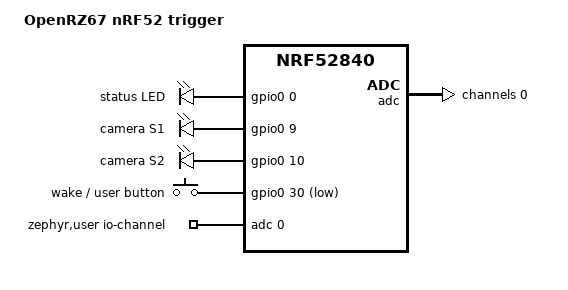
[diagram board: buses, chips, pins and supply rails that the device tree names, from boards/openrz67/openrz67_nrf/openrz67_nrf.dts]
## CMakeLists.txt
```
cmake_minimum_required(VERSION 3.20.0)
list(APPEND BOARD_ROOT ${CMAKE_CURRENT_SOURCE_DIR})
find_package(Zephyr REQUIRED HINTS $ENV{ZEPHYR_BASE})
project(openrz67_nrf)
target_sources(app PRIVATE src/main.c)
```

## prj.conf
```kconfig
# Bluetooth: peripheral only, one connection, 0 dBm
CONFIG_BT=y
CONFIG_BT_PERIPHERAL=y
CONFIG_BT_MAX_CONN=1
CONFIG_BT_DEVICE_NAME="OpenRZ67"
CONFIG_BT_DEVICE_APPEARANCE=0
CONFIG_BT_DIS=y
CONFIG_BT_DIS_MANUF_NAME=y
CONFIG_BT_DIS_MANUF_NAME_STR="OpenRZ67"
CONFIG_BT_DIS_MODEL_NUMBER=y
CONFIG_BT_DIS_MODEL_NUMBER_STR="Trigger"
CONFIG_BT_DIS_FW_REV=y
CONFIG_BT_DIS_FW_REV_STR="dev"
CONFIG_BT_DIS_PNP=n
CONFIG_BT_BAS=y
CONFIG_BT_GATT_DYNAMIC_DB=n
CONFIG_BT_CTLR_TX_PWR_0=y
# GAP preferred supervision timeout 4 s, as requested after connecting (default 420 ms)
CONFIG_BT_PERIPHERAL_PREF_TIMEOUT=400

# Firmware updates over Bluetooth: MCUboot + SMP (nRF Connect Device Manager app)
CONFIG_NCS_SAMPLE_MCUMGR_BT_OTA_DFU=y

# GPIO, ADC (VDD measurement), power off, watchdog
CONFIG_GPIO=y
CONFIG_ADC=y
CONFIG_POWEROFF=y
CONFIG_WATCHDOG=y

# Anomaly 30: HFINT drifts in the cold and GRTC wake-ups go wrong; recalibrate every 60 s
CONFIG_CLOCK_CONTROL_NRF_HFINT_CALIBRATION=y

# Nothing talks on a serial port: no UART, no console, no logging.
# debug.conf turns RTT logging on for a J-Link / debugprobe session.
CONFIG_SERIAL=n
CONFIG_CONSOLE=n
CONFIG_UART_CONSOLE=n
CONFIG_LOG=n
CONFIG_BOOT_BANNER=n
CONFIG_MAIN_STACK_SIZE=2048
```

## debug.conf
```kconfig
# west build -b openrz67_nrf/nrf54l15/cpuapp -- -DEXTRA_CONF_FILE=debug.conf
CONFIG_LOG=y
CONFIG_USE_SEGGER_RTT=y
CONFIG_LOG_BACKEND_RTT=y
CONFIG_LOG_MODE_DEFERRED=y
CONFIG_PRINTK=y
CONFIG_CONSOLE=y
CONFIG_RTT_CONSOLE=y
```

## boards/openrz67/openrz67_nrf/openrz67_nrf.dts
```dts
/dts-v1/;
#include <nordic/nrf52840_qiaa.dtsi>
#include <zephyr/dt-bindings/input/input-event-codes.h>
#include <zephyr/dt-bindings/adc/adc.h>
#include <zephyr/dt-bindings/adc/nrf-adc.h>
#include <zephyr/dt-bindings/gpio/nordic-nrf-gpio.h>

/ {
	model = "OpenRZ67 nRF52 trigger";
	compatible = "openrz67,openrz67-nrf";

	chosen {
		zephyr,sram = &sram0;
		zephyr,flash = &flash0;
		zephyr,code-partition = &slot0_partition;
	};

	/* E73-2G4M08S1C pads -> nRF52840 GPIO, see ../../../kicad/README.md */
	outputs {
		compatible = "gpio-leds";
		status_led: led_0 {
			gpios = <&gpio0 0 GPIO_ACTIVE_HIGH>;	/* D1 through R3, pad 11 (XL1) */
			label = "status LED";
		};
		s1_drv: s1 {
			gpios = <&gpio0 9 (GPIO_ACTIVE_HIGH | NRF_GPIO_DRIVE_S0H1)>;	/* U2 PhotoMOS LED through R1, pad 41 (NFC1); high drive, 5 mA */
			label = "camera S1";
		};
		s2_drv: s2 {
			gpios = <&gpio0 10 (GPIO_ACTIVE_HIGH | NRF_GPIO_DRIVE_S0H1)>;	/* U3 PhotoMOS LED through R2, pad 43 (NFC2); high drive, 5 mA */
			label = "camera S2";
		};
	};

	buttons {
		compatible = "gpio-keys";
		user_button: button_0 {
			gpios = <&gpio0 30 (GPIO_PULL_UP | GPIO_ACTIVE_LOW)>;	/* SW1 to GND, pad 10 */
			label = "wake / user button";
			zephyr,code = <INPUT_KEY_0>;
		};
	};

	zephyr,user {
		io-channels = <&adc 0>;	/* VDD, i.e. the cell voltage */
	};

	aliases {
		led0 = &status_led;
		sw0 = &user_button;
	};
};

&adc {
	status = "okay";
	#address-cells = <1>;
	#size-cells = <0>;
	channel@0 {
		reg = <0>;
		zephyr,gain = "ADC_GAIN_1_6";
		zephyr,reference = "ADC_REF_INTERNAL";
		zephyr,acquisition-time = <ADC_ACQ_TIME(ADC_ACQ_TIME_MICROSECONDS, 40)>;
		zephyr,input-positive = <NRF_SAADC_VDD>;
		zephyr,resolution = <12>;
		zephyr,oversampling = <4>;
	};
};

&gpio0 {
	status = "okay";
	sense-edge-mask = <(1 << 30)>;	/* button via SENSE, not a GPIOTE channel */
};

&gpio1 {
	status = "okay";
};

&gpiote {
	status = "okay";
};

/* P0.09 / P0.10 drive the PhotoMOS LEDs, not NFC */
&uicr {
	nfct-pins-as-gpios;
};

&flash0 {
	partitions {
		compatible = "fixed-partitions";
		#address-cells = <1>;
		#size-cells = <1>;
		boot_partition: partition@0 {
			label = "mcuboot";
			reg = <0x0 0xc000>;
		};
		slot0_partition: partition@c000 {
			label = "image-0";
			reg = <0xc000 0x72000>;
		};
		slot1_partition: partition@7e000 {
			label = "image-1";
			reg = <0x7e000 0x72000>;
		};
		storage_partition: partition@f0000 {
			label = "storage";
			reg = <0xf0000 0x10000>;
		};
	};
};
```

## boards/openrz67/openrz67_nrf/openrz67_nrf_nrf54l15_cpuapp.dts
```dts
/dts-v1/;
#include <nordic/nrf54l15_cpuapp.dtsi>
#include <zephyr/dt-bindings/input/input-event-codes.h>
#include <zephyr/dt-bindings/adc/adc.h>
#include <zephyr/dt-bindings/adc/nrf-saadc.h>
#include <zephyr/dt-bindings/gpio/nordic-nrf-gpio.h>

/ {
	model = "OpenRZ67 nRF trigger";
	compatible = "openrz67,openrz67-nrf";

	chosen {
		zephyr,sram = &cpuapp_sram;
		zephyr,flash = &cpuapp_rram;
		zephyr,flash-controller = &rram_controller;
		zephyr,code-partition = &slot0_partition;
	};

	/* E73-2G4M08S1F pads -> nRF54L15 GPIO, see ../../../../kicad/README.md */
	outputs {
		compatible = "gpio-leds";
		status_led: led_0 {
			gpios = <&gpio2 0 GPIO_ACTIVE_HIGH>;	/* D1 through R3, pad 18 */
			label = "status LED";
		};
		s1_drv: s1 {
			gpios = <&gpio2 4 (GPIO_ACTIVE_HIGH | NRF_GPIO_DRIVE_S0H1)>;	/* U2 PhotoMOS LED through R1, pad 27; high drive, 5 mA */
			label = "camera S1";
		};
		s2_drv: s2 {
			gpios = <&gpio2 5 (GPIO_ACTIVE_HIGH | NRF_GPIO_DRIVE_S0H1)>;	/* U3 PhotoMOS LED through R2, pad 28; high drive, 5 mA */
			label = "camera S2";
		};
	};

	buttons {
		compatible = "gpio-keys";
		user_button: button_0 {
			gpios = <&gpio1 4 (GPIO_PULL_UP | GPIO_ACTIVE_LOW)>;	/* SW1 to GND, pad 7 */
			label = "wake / user button";
			zephyr,code = <INPUT_KEY_0>;
		};
	};

	zephyr,user {
		io-channels = <&adc 0>;	/* VDD, i.e. the cell voltage */
	};

	aliases {
		led0 = &status_led;
		sw0 = &user_button;
		watchdog0 = &wdt31;
	};
};

&cpuapp_sram {
	status = "okay";
};

/* Crystals inside the module; Ebyte does not give their load capacitance, these are the DK values */
&lfxo {
	load-capacitors = "internal";
	load-capacitance-femtofarad = <17000>;
};

&hfxo {
	load-capacitors = "internal";
	load-capacitance-femtofarad = <15000>;
};

&regulators {
	status = "okay";
};

&grtc {
	owned-channels = <0 1 2 3 4 5 6 7 8 9 10 11>;
	child-owned-channels = <3 4 7 8 9 10 11>;
	status = "okay";
};

&clock {
	status = "okay";
};

&radio {
	status = "okay";
};

&adc {
	status = "okay";
	#address-cells = <1>;
	#size-cells = <0>;
	channel@0 {
		reg = <0>;
		zephyr,gain = "ADC_GAIN_1_4";
		zephyr,reference = "ADC_REF_INTERNAL";
		zephyr,acquisition-time = <ADC_ACQ_TIME(ADC_ACQ_TIME_MICROSECONDS, 40)>;
		zephyr,input-positive = <NRF_SAADC_VDD>;
		zephyr,resolution = <12>;
		zephyr,oversampling = <4>;
	};
};

&gpio1 {
	status = "okay";
	sense-edge-mask = <(1 << 4)>;	/* button via SENSE, not a GPIOTE channel */
	latch-detect;	/* anomaly 114: a bouncing SENSE pin can leave ~300 uA on in idle */
};

&gpio2 {
	status = "okay";
};

&wdt31 {
	status = "okay";
};

&gpiote20 {
	status = "okay";
};

#include <vendor/nordic/nrf54l15_cpuapp_partition.dtsi>
```

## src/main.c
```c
/* OpenRZ67 trigger, nRF54L15 / coin cell. Zephyr (nRF Connect SDK).
 *
 * Same GATT and command protocol as the ESP32-C3 firmware in ../../src/main.cpp, so the
 * Android and iOS apps do not change:
 *   service  c9239c9e-6fc9-4168-b3aa-53105eb990b0
 *   command  458d4dc9-349f-401d-b092-a2b1c55f5319  write-without-response
 *            1 byte:  button * 10 + state        (1 trigger, 2 bulb, 3 countdown; 1 start, 0 stop)
 *            3 bytes: [3, seconds, state]        countdown with its duration
 *   battery  cda71ce6-4af9-4aa2-8d34-329c2acdae09  cell voltage, mV, uint16 LE, read + notify
 *   plus Device Information (0x180A) and Battery Service (0x180F).
 *
 * Power: boot (button press) -> advertise ADV_TIMEOUT -> no connection: System OFF, the
 * button wakes it. Connected: no timeout. Disconnect -> advertise ADV_TIMEOUT again.
 */
#include <zephyr/kernel.h>
#include <zephyr/sys/poweroff.h>
#include <zephyr/drivers/gpio.h>
#include <zephyr/drivers/adc.h>
#include <zephyr/drivers/watchdog.h>
#include <zephyr/sys/byteorder.h>
#include <zephyr/bluetooth/bluetooth.h>
#include <zephyr/bluetooth/conn.h>
#include <zephyr/bluetooth/gatt.h>
#include <zephyr/bluetooth/services/bas.h>
#include <zephyr/logging/log.h>
#include <zephyr/init.h>
#include <hal/nrf_regulators.h>

LOG_MODULE_REGISTER(openrz67, LOG_LEVEL_INF);

#define ADV_TIMEOUT      K_MINUTES(5)
#define VBAT_PERIOD      K_SECONDS(60)
#define VBAT_EMPTY_MV    2500   /* CR2032: 0 % */
#define VBAT_FULL_MV     3000   /* 100 % */
#define TRIGGER_HOLD_MS  100    /* S2 held for a plain release */
#define S1_LEAD_MS       10     /* S1 before S2, lets the camera wake its meter */
#define DEFAULT_COUNTDOWN_MS 10000
#define LED_HOLD_MS      2000   /* LED on after a trigger */
#define LONG_PRESS       K_SECONDS(3)   /* button held this long: power off */
#define WDT_TIMEOUT_MS   5000   /* the main loop wakes at least every 2 s */

/* --- Pins (devicetree, see boards/openrz67/openrz67_nrf/openrz67_nrf_nrf54l15_cpuapp.dts) ---------- */
static const struct gpio_dt_spec led = GPIO_DT_SPEC_GET(DT_ALIAS(led0), gpios);
static const struct gpio_dt_spec s1 = GPIO_DT_SPEC_GET(DT_NODELABEL(s1_drv), gpios);
static const struct gpio_dt_spec s2 = GPIO_DT_SPEC_GET(DT_NODELABEL(s2_drv), gpios);
static const struct gpio_dt_spec button = GPIO_DT_SPEC_GET(DT_ALIAS(sw0), gpios);
static const struct adc_dt_spec vdd_adc = ADC_DT_SPEC_GET_BY_IDX(DT_PATH(zephyr_user), 0);
static const struct device *const wdt = DEVICE_DT_GET(DT_ALIAS(watchdog0));

/* --- GATT ------------------------------------------------------------------------- */
#define UUID_SERVICE BT_UUID_128_ENCODE(0xc9239c9e, 0x6fc9, 0x4168, 0xb3aa, 0x53105eb990b0)
#define UUID_COMMAND BT_UUID_128_ENCODE(0x458d4dc9, 0x349f, 0x401d, 0xb092, 0xa2b1c55f5319)
#define UUID_BATTERY BT_UUID_128_ENCODE(0xcda71ce6, 0x4af9, 0x4aa2, 0x8d34, 0x329c2acdae09)

static const struct bt_uuid_128 uuid_service = BT_UUID_INIT_128(UUID_SERVICE);
static const struct bt_uuid_128 uuid_command = BT_UUID_INIT_128(UUID_COMMAND);
static const struct bt_uuid_128 uuid_battery = BT_UUID_INIT_128(UUID_BATTERY);

struct command {
	uint8_t button;      /* 1 trigger, 2 bulb, 3 countdown */
	uint8_t value;       /* 1 start, 0 stop */
	uint32_t duration_ms;
};
K_MSGQ_DEFINE(commands, sizeof(struct command), 8, 4);

static uint16_t vbat_mv;
static bool vbat_notify;

static ssize_t write_command(struct bt_conn *conn, const struct bt_gatt_attr *attr,
			     const void *buf, uint16_t len, uint16_t offset, uint8_t flags)
{
	const uint8_t *d = buf;
	struct command c = {.duration_ms = DEFAULT_COUNTDOWN_MS};

	if (len == 1) {
		c.button = d[0] / 10;
		c.value = d[0] % 10;
	} else if (len == 3 && d[0] == 3) {
		c.button = 3;
		c.duration_ms = d[1] * 1000U;
		c.value = d[2];
	} else {
		return BT_GATT_ERR(BT_ATT_ERR_VALUE_NOT_ALLOWED);
	}
	k_msgq_put(&commands, &c, K_NO_WAIT);
	return len;
}

static ssize_t read_battery(struct bt_conn *conn, const struct bt_gatt_attr *attr,
			    void *buf, uint16_t len, uint16_t offset)
{
	uint16_t v = sys_cpu_to_le16(vbat_mv);
	return bt_gatt_attr_read(conn, attr, buf, len, offset, &v, sizeof(v));
}

static void battery_ccc_changed(const struct bt_gatt_attr *attr, uint16_t value)
{
	vbat_notify = value == BT_GATT_CCC_NOTIFY;
}

BT_GATT_SERVICE_DEFINE(trigger_svc,
	BT_GATT_PRIMARY_SERVICE(&uuid_service),
	BT_GATT_CHARACTERISTIC(&uuid_command.uuid, BT_GATT_CHRC_WRITE_WITHOUT_RESP | BT_GATT_CHRC_WRITE,
			       BT_GATT_PERM_WRITE, NULL, write_command, NULL),
	BT_GATT_CHARACTERISTIC(&uuid_battery.uuid, BT_GATT_CHRC_READ | BT_GATT_CHRC_NOTIFY,
			       BT_GATT_PERM_READ, read_battery, NULL, NULL),
	BT_GATT_CCC(battery_ccc_changed, BT_GATT_PERM_READ | BT_GATT_PERM_WRITE),
);

/* --- Advertising / connection ---------------------------------------------------- */
static const struct bt_data ad[] = {
	BT_DATA_BYTES(BT_DATA_FLAGS, BT_LE_AD_GENERAL | BT_LE_AD_NO_BREDR),
	BT_DATA_BYTES(BT_DATA_UUID128_ALL, UUID_SERVICE),
};
static const struct bt_data sd[] = {
	BT_DATA(BT_DATA_NAME_COMPLETE, CONFIG_BT_DEVICE_NAME, sizeof(CONFIG_BT_DEVICE_NAME) - 1),
};
/* 30-60 ms advertising, as on the ESP32 board; the phone sees us at once */
static const struct bt_le_adv_param adv_param =
	BT_LE_ADV_PARAM_INIT(BT_LE_ADV_OPT_CONN, 0x0030, 0x0060, NULL);

static struct bt_conn *current_conn;
static void adv_timeout_fn(struct k_work *work);
static K_WORK_DELAYABLE_DEFINE(adv_timeout, adv_timeout_fn);

static void start_advertising(void)
{
	int err = bt_le_adv_start(&adv_param, ad, ARRAY_SIZE(ad), sd, ARRAY_SIZE(sd));
	if (err && err != -EALREADY) {
		LOG_ERR("adv start %d", err);
	}
	k_work_reschedule(&adv_timeout, ADV_TIMEOUT);
}

static void power_off(void)
{
	bt_le_adv_stop();
	gpio_pin_set_dt(&led, 0);
	gpio_pin_set_dt(&s1, 0);
	gpio_pin_set_dt(&s2, 0);
	/* the button (active low, pulled up) wakes the chip from System OFF */
	gpio_pin_interrupt_configure_dt(&button, GPIO_INT_LEVEL_ACTIVE);
	sys_poweroff();
}

static void adv_timeout_fn(struct k_work *work)
{
	if (current_conn == NULL) {
		LOG_INF("nobody came, sleeping");
		power_off();
	}
}

static void connected(struct bt_conn *conn, uint8_t err)
{
	if (err) {
		return;   /* recycled() restarts advertising */
	}
	current_conn = bt_conn_ref(conn);
	k_work_cancel_delayable(&adv_timeout);
	/* 30-50 ms interval, no latency: a shutter command is acted on within one interval */
	bt_conn_le_param_update(conn, BT_LE_CONN_PARAM(0x18, 0x28, 0, 400));
}

static void disconnected(struct bt_conn *conn, uint8_t reason)
{
	/* the app can no longer send the stop: end a bulb here so the outputs do not stay on */
	struct command stop = {.button = 2, .value = 0};
	k_msgq_purge(&commands);   /* drop queued starts, make room for the stop */
	k_msgq_put(&commands, &stop, K_NO_WAIT);
	if (current_conn) {
		bt_conn_unref(current_conn);
		current_conn = NULL;
	}
}

/* With BT_MAX_CONN=1 the connection object is still held in disconnected(), so
 * bt_le_adv_start fails there with -ENOMEM. It is free once recycled() runs. */
static void recycled(void)
{
	start_advertising();   /* ADV_TIMEOUT to reconnect, then sleep */
}

BT_CONN_CB_DEFINE(conn_cb) = {
	.connected = connected,
	.disconnected = disconnected,
	.recycled = recycled,
};

/* --- Battery ----------------------------------------------------------------------- */
static void vbat_update(struct k_work *work);
static K_WORK_DELAYABLE_DEFINE(vbat_work, vbat_update);

static void vbat_update(struct k_work *work)
{
	int16_t raw;
	struct adc_sequence seq = {.buffer = &raw, .buffer_size = sizeof(raw)};

	adc_sequence_init_dt(&vdd_adc, &seq);
	if (adc_read_dt(&vdd_adc, &seq) == 0) {
		int32_t mv = raw;
		adc_raw_to_millivolts_dt(&vdd_adc, &mv);
		vbat_mv = CLAMP(mv, 0, 0xffff);
		int pct = (int)(vbat_mv - VBAT_EMPTY_MV) * 100 / (VBAT_FULL_MV - VBAT_EMPTY_MV);
		bt_bas_set_battery_level(CLAMP(pct, 0, 100));
		if (vbat_notify && current_conn) {
			uint16_t v = sys_cpu_to_le16(vbat_mv);
			bt_gatt_notify(current_conn, &trigger_svc.attrs[4], &v, sizeof(v));
		}
	}
	k_work_reschedule(&vbat_work, VBAT_PERIOD);
}

/* --- Shutter ----------------------------------------------------------------------- */
static bool bulb_active, countdown_active;
static int64_t countdown_end, led_hold_until;

static void open_shutter(void)
{
	gpio_pin_set_dt(&s1, 1);
	k_msleep(S1_LEAD_MS);
	gpio_pin_set_dt(&s2, 1);
}

static void close_shutter(void)
{
	gpio_pin_set_dt(&s2, 0);
	gpio_pin_set_dt(&s1, 0);
}

static void trigger_shutter(void)
{
	bulb_active = false;
	open_shutter();
	k_msleep(TRIGGER_HOLD_MS);
	close_shutter();
}

/* Same semantics as handleCommand() in the ESP32 firmware: only 1 starts, a start
 * cancels a pending countdown, a stop leaves it running. */
static void handle(const struct command *c)
{
	bool start = c->value == 1;

	switch (c->button) {
	case 1:
		if (start) {
			countdown_active = false;
			trigger_shutter();
			led_hold_until = k_uptime_get() + LED_HOLD_MS;
		} else {
			led_hold_until = 0;
		}
		break;
	case 2:
		if (start) {
			countdown_active = false;
			bulb_active = true;
			open_shutter();
		} else {
			bulb_active = false;
			close_shutter();
		}
		break;
	case 3:
		if (start) {
			bulb_active = false;
			close_shutter();
			countdown_end = k_uptime_get() + c->duration_ms;
		}
		countdown_active = start;
		break;
	default:
		LOG_WRN("unknown button %u", c->button);
	}
}

/* LED: solid just after a trigger, slow blink while the shutter is held (saves the cell),
 * fast blink in a countdown, short blink every 2 s while advertising, off when connected
 * and idle. */
static void led_tick(int64_t now)
{
	bool on;

	if (now < led_hold_until) {
		on = true;
	} else if (bulb_active) {
		on = (now % 1000) < 100;
	} else if (countdown_active) {
		on = (now % 250) < 125;
	} else if (current_conn == NULL) {
		on = (now % 2000) < 40;
	} else {
		on = false;
	}
	gpio_pin_set_dt(&led, on);
}

/* --- Button: a press wakes from System OFF and restarts advertising; held 3 s, power off --- */
static void adv_work_fn(struct k_work *work)
{
	if (current_conn == NULL) {
		start_advertising();
	}
}
static K_WORK_DEFINE(adv_work, adv_work_fn);

static void long_press_fn(struct k_work *work)
{
	if (!gpio_pin_get_dt(&button)) {
		return;
	}
	/* a button still held, or bouncing on release, would wake System OFF at once */
	for (int released = 0; released < 3;) {
		k_msleep(20);
		released = gpio_pin_get_dt(&button) ? 0 : released + 1;
	}
	if (current_conn) {
		bt_conn_disconnect(current_conn, BT_HCI_ERR_REMOTE_POWER_OFF);
		k_msleep(100);   /* let the disconnect go out so the app sees it at once */
	}
	power_off();
}
static K_WORK_DELAYABLE_DEFINE(long_press, long_press_fn);

static struct gpio_callback button_cb;
static void button_pressed(const struct device *dev, struct gpio_callback *cb, uint32_t pins)
{
	k_work_submit(&adv_work);   /* bt_le_adv_start is not ISR-safe */
	k_work_reschedule(&long_press, LONG_PRESS);
}

/* How long the main loop may sleep before the LED or the countdown needs it */
static k_timeout_t next_wait(int64_t now)
{
	if (countdown_active || bulb_active || now < led_hold_until) {
		return K_MSEC(20);
	}
	if (current_conn == NULL) {
		int64_t phase = now % 2000;
		return K_MSEC(phase < 40 ? 40 - phase : 2000 - phase);
	}
	return K_SECONDS(1);
}

/* DC/DC roughly halves the radio current, but only with an inductor on DCC, inside the
 * module. Ebyte does not say whether it is there, so ask the chip before turning it on. */
static int dcdc_init(void)
{
	if (nrf_regulators_inductor_check(NRF_REGULATORS)) {
		nrf_regulators_vreg_enable_set(NRF_REGULATORS, NRF_REGULATORS_VREG_MAIN, true);
	}
	return 0;
}
SYS_INIT(dcdc_init, PRE_KERNEL_1, 0);

int main(void)
{
	gpio_pin_configure_dt(&led, GPIO_OUTPUT_INACTIVE);
	gpio_pin_configure_dt(&s1, GPIO_OUTPUT_INACTIVE);
	gpio_pin_configure_dt(&s2, GPIO_OUTPUT_INACTIVE);
	gpio_pin_configure_dt(&button, GPIO_INPUT);
	gpio_pin_interrupt_configure_dt(&button, GPIO_INT_EDGE_TO_ACTIVE);
	gpio_init_callback(&button_cb, button_pressed, BIT(button.pin));
	gpio_add_callback(button.port, &button_cb);
	adc_channel_setup_dt(&vdd_adc);

	/* a hung loop resets the chip, and reset releases S1/S2 */
	struct wdt_timeout_cfg wdt_cfg = {
		.window.max = WDT_TIMEOUT_MS,
		.flags = WDT_FLAG_RESET_SOC,
	};
	int wdt_ch = wdt_install_timeout(wdt, &wdt_cfg);
	wdt_setup(wdt, WDT_OPT_PAUSE_HALTED_BY_DBG);

	int err = bt_enable(NULL);
	if (err) {
		LOG_ERR("bt_enable %d", err);
		return 0;
	}
	start_advertising();
	k_work_schedule(&vbat_work, K_SECONDS(1));

	struct command c;
	while (1) {
		if (k_msgq_get(&commands, &c, next_wait(k_uptime_get())) == 0) {
			handle(&c);
		}
		int64_t now = k_uptime_get();
		if (countdown_active && now >= countdown_end) {
			countdown_active = false;
			trigger_shutter();
		}
		led_tick(now);
		wdt_feed(wdt, wdt_ch);
	}
	return 0;
}
```
